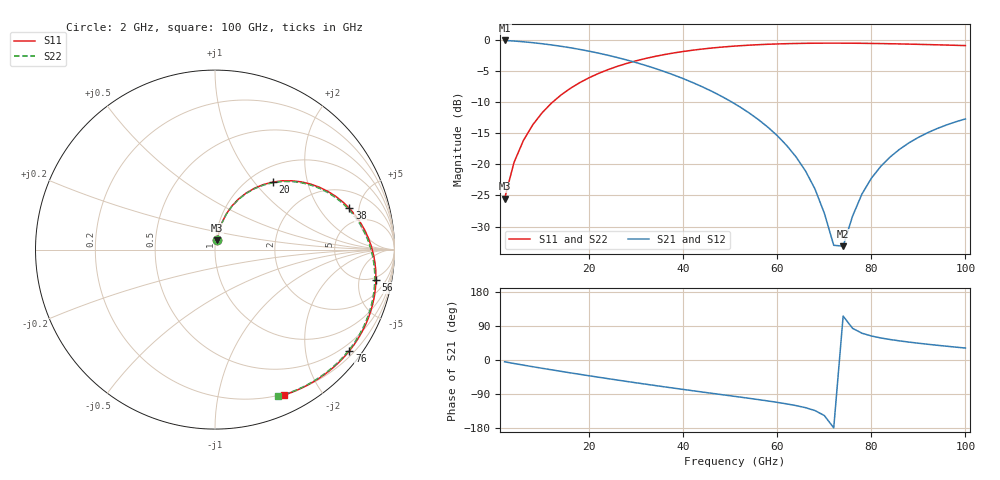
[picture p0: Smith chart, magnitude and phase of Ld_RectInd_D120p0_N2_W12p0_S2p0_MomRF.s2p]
! Created Mon Sep 21 19:09:59 2026
! List of port names and net name(s): example Port n = <port_name> <net_name1> <net_name2> ...
! Port 1 = P1 P1
! Port 2 = P2 P2
# hz S ma R 50
! Port[1]
! Port[2]
! 2 Port Network Data from data block
! freq  magS11  angS11  magS21  angS21  magS12  angS12  magS22  angS22
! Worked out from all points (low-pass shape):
!   50 points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, 2 GHz to 100 GHz, reference 50 ohm
!   highest |S21| = -0.12 dB at 2 GHz (marker M1); lowest = -33.1 dB at 74 GHz (marker M2)
!   |S21| within 3 dB of the highest: start of sweep to 27.29 GHz
!   lowest |S11| = -25.5 dB at 2 GHz (marker M3), VSWR 1.11, Z = 51 + j5.26 ohm
!   |S11| at or under -10 dB: start of sweep to 12.24 GHz
!   |S22| runs from -25.5 to -0.6 dB; largest |S21 - S12| = 0
!   S11 on the Smith chart (normalised r, x): 2 GHz: 1.02, +0.11; 20 GHz: 1.26, +1.25; 38 GHz: 3.33, +3.97; 56 GHz: 4.28, -8.63; 76 GHz: 0.32, -2.96; 100 GHz: 0.19, -1.57
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2e9  0.05299 76.0  0.9866 -4.7  0.9866 -4.7  0.053 75.9
4e9  0.1035 77.3  0.9763 -9.2  0.9763 -9.2  0.1035 77.1
6e9  0.1554 75.5  0.9628 -13.5  0.9628 -13.5  0.1552 75.3
8e9  0.2078 72.4  0.9467 -17.8  0.9467 -17.8  0.2074 72.2
1.4e10  0.3601 61.1  0.8858 -30.0  0.8858 -30.0  0.359 60.8
2e10  0.496 49.4  0.8087 -41.7  0.8087 -41.7  0.4943 49.0
2.8e10  0.6459 34.4  0.6874 -56.6  0.6874 -56.6  0.6436 34.0
3.6e10  0.7602 20.4  0.5546 -70.8  0.5546 -70.8  0.7572 19.9
3.8e10  0.7835 17.1  0.5208 -74.3  0.5208 -74.3  0.7804 16.5
5.2e10  0.8948 -4.9  0.2896 -97.7  0.2896 -97.7  0.891 -5.7
5.6e10  0.9125 -10.6  0.2281 -104.5  0.2281 -104.5  0.9084 -11.5
6.4e10  0.9332 -21.7  0.1144 -120.3  0.1144 -120.3  0.9288 -22.7
6.8e10  0.9376 -26.9  0.0635 -133.4  0.0635 -133.4  0.933 -28.1
7e10  0.9386 -29.5  0.04051 -146.5  0.04051 -146.5  0.9339 -30.7
7.2e10  0.9389 -32.0  0.02238 -179.1  0.02238 -179.1  0.934 -33.3
7.4e10  0.9385 -34.5  0.02202 115.9  0.02202 115.9  0.9335 -35.8
7.6e10  0.9374 -37.0  0.03833 83.6  0.03833 83.6  0.9324 -38.4
7.8e10  0.9359 -39.4  0.05775 70.7  0.05775 70.7  0.9308 -40.8
8e10  0.9339 -41.8  0.07726 63.4  0.07726 63.4  0.9286 -43.3
8.4e10  0.9286 -46.5  0.1145 54.0  0.1145 54.0  0.9231 -48.1
9e10  0.9183 -53.4  0.1645 44.3  0.1645 44.3  0.9125 -55.2
1e11  0.8974 -64.5  0.2313 31.5  0.2313 31.5  0.8909 -66.7
